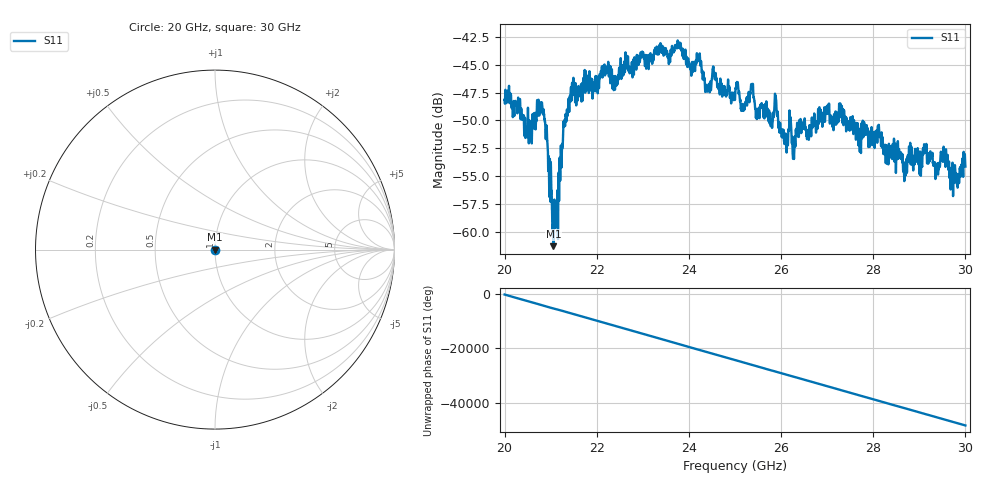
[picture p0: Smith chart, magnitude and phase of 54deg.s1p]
#  HZ  S  RI  R  50.00
! Rohde & Schwarz ZVA40 4Ports - Version 3.90 - 1145.1110k42 SN: 100403
! Date: 2023-10-03 12:02:14
! Measurement: S12
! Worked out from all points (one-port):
!   5001 points, 20 GHz to 30 GHz, reference 50 ohm
!   lowest |S11| = -61.3 dB at 21.06 GHz (marker M1), VSWR 1.00, Z = 49.9 + j0.0126 ohm
!   |S11| at or under -10 dB: start of sweep to end of sweep
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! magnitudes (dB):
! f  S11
! 20 GHz  -48.1
! 20.54 GHz  -50.6
! 20.81 GHz  -48.4
! 20.89 GHz  -51.3
! 21.06 GHz  -61.3
! 21.14 GHz  -57.3
! 21.25 GHz  -52.5
! 21.48 GHz  -47.7
! 22.5 GHz  -45.2
! 23.75 GHz  -43.3
! 24.06 GHz  -45.2
! 24.22 GHz  -44.6
! 24.4 GHz  -47.3
! 24.55 GHz  -45.9
! 25 GHz  -48.1
! 25.17 GHz  -48.5
! 25.37 GHz  -46.9
! 25.49 GHz  -49.2
! 25.77 GHz  -50.3
! 25.88 GHz  -47.8
! 26.08 GHz  -51.8
! 26.25 GHz  -52.8
! 27 GHz  -49.4
! 27.5 GHz  -49.8
! 28.75 GHz  -53.2
! 29.57 GHz  -54.2
! 29.83 GHz  -56.0
! 30 GHz  -54.1
